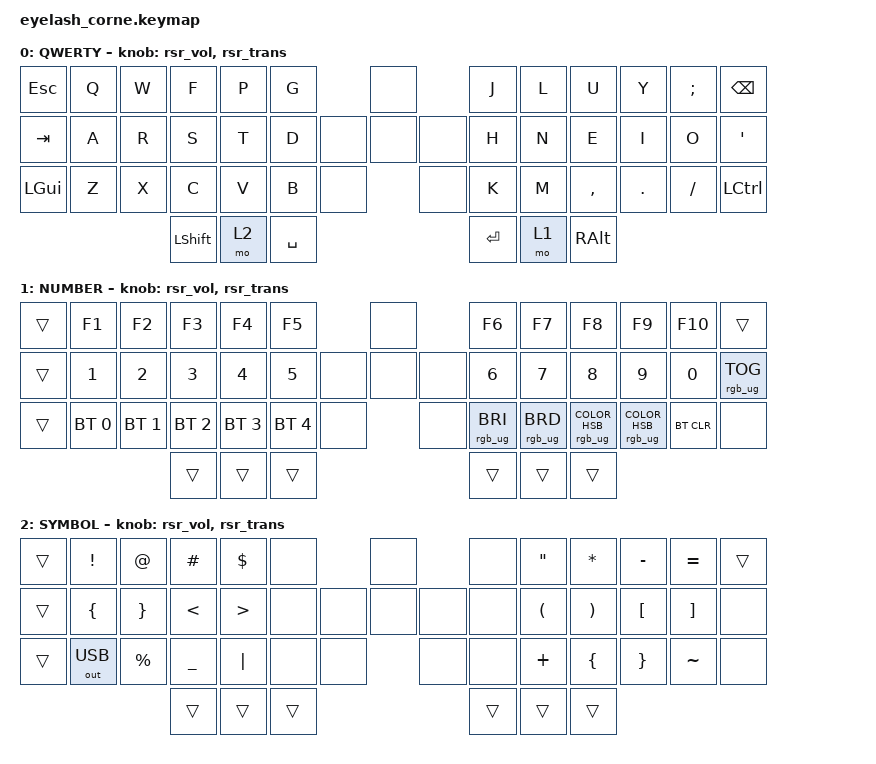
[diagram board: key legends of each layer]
#define ZMK_POINTING_DEFAULT_MOVE_VAL 1200  // 600
#define ZMK_POINTING_DEFAULT_SCRL_VAL 25   // 10

#include <input/processors.dtsi>
#include <zephyr/dt-bindings/input/input-event-codes.h>
#include <behaviors/runtime-sensor-rotate.dtsi>
#include <behaviors.dtsi>
#include <dt-bindings/zmk/bt.h>
#include <dt-bindings/zmk/keys.h>
#include <dt-bindings/zmk/outputs.h>
#include <dt-bindings/zmk/rgb.h>

/ {
    behaviors {
        td0: td0 {
            compatible = "zmk,behavior-tap-dance";
            display-name = "Shift/Caps Lock Tap Dance";
            #binding-cells = <0>;
            bindings = <&kp LEFT_SHIFT>, <&kp CAPS>;
        };

        rsr_vol: rsr_vol {
            compatible = "zmk,behavior-runtime-sensor-rotate";
            #sensor-binding-cells = <0>;
            tap-ms = <5>;
            cw-binding = <&kp C_VOL_UP>;
            ccw-binding = <&kp C_VOL_DN>;
        };

        rsr_trans: rsr_trans {
            compatible = "zmk,behavior-runtime-sensor-rotate";
            #sensor-binding-cells = <0>;
            tap-ms = <0>;
        };
    };

    combos { compatible = "zmk,combos"; };

    keymap {
        compatible = "zmk,keymap";

        default_layer {
            display-name = "QWERTY";
            bindings = <
&kp ESCAPE  &kp Q  &kp W  &kp F           &kp P  &kp G                      &none         &kp J    &kp L  &kp U          &kp Y    &kp SEMI  &kp BSPC
&kp TAB     &kp A  &kp R  &kp S           &kp T  &kp D               &none  &none  &none  &kp H    &kp N  &kp E          &kp I    &kp O     &kp SQT
&kp LGUI    &kp Z  &kp X  &kp C           &kp V  &kp B      &none           &none         &kp K    &kp M  &kp COMMA      &kp DOT  &kp FSLH  &kp LCTRL
                          &kp LEFT_SHIFT  &mo 2  &kp SPACE                                &kp RET  &mo 1  &kp RIGHT_ALT
            >;

            sensor-bindings = <&rsr_vol &rsr_trans>;
        };

        lower_layer {
            display-name = "NUMBER";
            bindings = <
&trans  &kp F1        &kp F2        &kp F3        &kp F4        &kp F5                        &none         &kp F6           &kp F7           &kp F8                          &kp F9                            &kp F10     &trans
&trans  &kp N1        &kp N2        &kp N3        &kp N4        &kp N5                 &none  &none  &none  &kp N6           &kp N7           &kp N8                          &kp N9                            &kp N0      &rgb_ug RGB_TOG
&trans  &bt BT_SEL 0  &bt BT_SEL 1  &bt BT_SEL 2  &bt BT_SEL 3  &bt BT_SEL 4  &none           &none         &rgb_ug RGB_BRI  &rgb_ug RGB_BRD  &rgb_ug RGB_COLOR_HSB(0,0,100)  &rgb_ug RGB_COLOR_HSB(199,73,73)  &bt BT_CLR  &none
                                    &trans        &trans        &trans                                      &trans           &trans           &trans
            >;

            sensor-bindings = <&rsr_vol &rsr_trans>;
        };

        raise_layer {
            display-name = "SYMBOL";
            bindings = <
&trans  &kp EXCL        &kp AT           &kp HASH       &kp DLLR          &none                   &none         &none   &kp DOUBLE_QUOTES     &kp ASTRK              &kp MINUS         &kp EQUAL          &trans
&trans  &kp LEFT_BRACE  &kp RIGHT_BRACE  &kp LESS_THAN  &kp GREATER_THAN  &none            &none  &none  &none  &none   &kp LEFT_PARENTHESIS  &kp RIGHT_PARENTHESIS  &kp LEFT_BRACKET  &kp RIGHT_BRACKET  &none
&trans  &out OUT_USB    &kp PERCENT      &kp UNDER      &kp PIPE          &none   &none           &none         &none   &kp PLUS              &kp LBRC               &kp RBRC          &kp TILDE          &none
                                         &trans         &trans            &trans                                &trans  &trans                &trans
            >;

            sensor-bindings = <&rsr_vol &rsr_trans>;
        };
    };
};
